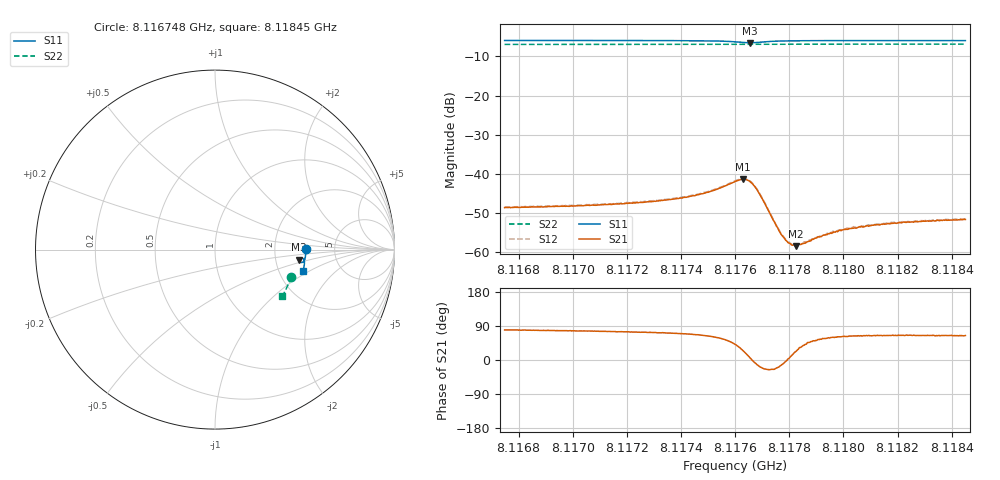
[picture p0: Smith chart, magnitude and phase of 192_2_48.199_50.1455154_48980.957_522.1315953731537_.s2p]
#  HZ  S  RI  R  50.00
! Rohde & Schwarz Vector Network Analyzer
! Rohde-Schwarz,ZNB20-2Port,1311601062101988,3.16
! Created: UTC 3/20/2024, 11:44:40 AM
! freq[Hz]  re:S11  im:S11  re:S21  im:S21  re:S12  im:S12  re:S22  im:S22
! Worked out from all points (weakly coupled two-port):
!   401 points, 8.116748 GHz to 8.11845 GHz, reference 50 ohm
!   highest |S21| = -41.42 dB at 8.117629 GHz (marker M1); lowest = -58.5 dB at 8.117825 GHz (marker M2)
!   lowest |S11| = -6.5 dB at 8.117655 GHz (marker M3), VSWR 2.79, Z = 136 - j19.9 ohm
!   |S11| at or under -10 dB: nowhere
!   |S22| runs from -6.9 to -6.8 dB; largest |S21 - S12| = 0.00022
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8.1167483e9  0.5064 0.00224  0.000674 0.00363  0.000744 0.0037  0.4238 -0.1525
8.1170334e9  0.5056 -0.02  0.000909 0.00381  0.000981 0.00384  0.4174 -0.1714
8.1173185e9  0.503 -0.0436  0.0014 0.0043  0.00145 0.00436  0.41 -0.1901
8.1174121e9  0.5008 -0.0524  0.00178 0.00468  0.00185 0.00473  0.4075 -0.1961
8.1174844e9  0.4981 -0.0602  0.0024 0.00509  0.00253 0.00521  0.4053 -0.2008
8.1175312e9  0.4943 -0.0659  0.00319 0.00546  0.00332 0.00552  0.4037 -0.2038
8.1175993e9  0.4811 -0.0719  0.00594 0.00531  0.00616 0.0053  0.4012 -0.208
8.1176291e9  0.4716 -0.0676  0.0077 0.00359  0.00787 0.00358  0.4 -0.2094
8.1176546e9  0.4686 -0.0568  0.00789 0.000827  0.00806 0.000728  0.3994 -0.2106
8.1176717e9  0.4722 -0.0501  0.00686 -0.000806  0.00699 -0.000883  0.399 -0.2113
8.1176887e9  0.4781 -0.0466  0.0054 -0.0016  0.00548 -0.00167  0.3988 -0.2122
8.1177568e9  0.4941 -0.0532  0.00193 -0.000691  0.00194 -0.000724  0.3975 -0.2168
8.1177781e9  0.4961 -0.0565  0.00153 -0.000251  0.00156 -0.000244  0.3969 -0.2182
8.1177993e9  0.4972 -0.0597  0.00129 0.000104  0.00131 0.000105  0.3961 -0.2196
8.1178163e9  0.4977 -0.062  0.00118 0.00038  0.00117 0.000363  0.3957 -0.2209
8.1178249e9  0.498 -0.0631  0.0011 0.000459  0.00116 0.000482  0.3954 -0.2214
8.1178504e9  0.4984 -0.0663  0.00101 0.000789  0.00103 0.000787  0.3948 -0.2231
8.1178844e9  0.4986 -0.07  0.000952 0.00109  0.000991 0.00109  0.3936 -0.2253
8.1179951e9  0.498 -0.0808  0.0009 0.00169  0.000918 0.0017  0.39 -0.2321
8.1180844e9  0.497 -0.0885  0.000925 0.00196  0.000998 0.00194  0.387 -0.2376
8.1181695e9  0.4958 -0.0954  0.000971 0.00207  0.000995 0.00212  0.3839 -0.2429
8.1184504e9  0.4911 -0.117  0.00112 0.00235  0.0012 0.00238  0.3739 -0.2597
